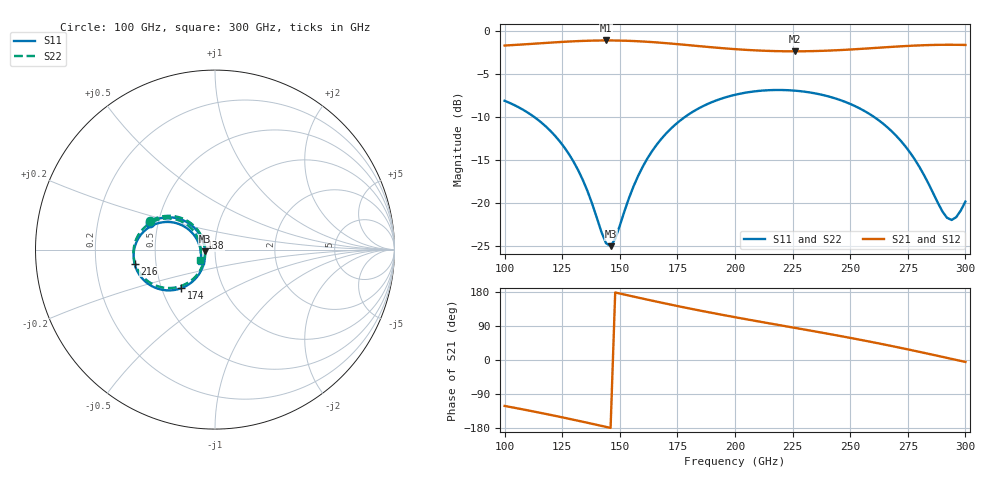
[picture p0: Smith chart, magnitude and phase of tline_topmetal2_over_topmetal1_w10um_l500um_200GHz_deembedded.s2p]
! Created with skrf 2.0.1 (http://scikit-rf.org).
# GHz S DB R 50.0
!freq dBS11 angS11 dBS21 angS21 dBS12 angS12 dBS22 angS22
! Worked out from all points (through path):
!   101 points, 100 GHz to 300 GHz, reference 50 ohm
!   highest |S21| = -1.06 dB at 144 GHz (marker M1); lowest = -2.3 dB at 226 GHz (marker M2)
!   group delay of S21, straight-line fit = 3.33 ps
!   lowest |S11| = -25.0 dB at 146 GHz (marker M3), VSWR 1.12, Z = 44.8 - j0.84 ohm
!   |S11| at or under -10 dB: 113 GHz to 178.1 GHz (65.15 GHz wide, 44.8 % of centre); 260.5 GHz to end of sweep
!   |S22| runs from -25.1 to -6.8 dB; largest |S21 - S12| = 7.9e-16
!   S11 on the Smith chart (normalised r, x): 100 GHz: 0.45, +0.16; 138 GHz: 0.85, +0.11; 174 GHz: 0.63, -0.30; 216 GHz: 0.38, -0.07; 300 GHz: 0.85, -0.11
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100  -8.08 157.6  -1.65 -121.2  -1.65 -121.2  -8.09 155.9
120  -11.62 139.3  -1.31 -145.0  -1.31 -145.0  -11.64 137.2
128  -14.33 134.2  -1.18 -155.2  -1.18 -155.2  -14.34 132.0
134  -17.34 134.2  -1.11 -163.1  -1.11 -163.1  -17.36 131.8
138  -20.08 139.2  -1.08 -168.4  -1.08 -168.4  -20.11 136.7
144  -24.67 170.3  -1.06 -176.5  -1.06 -176.5  -24.74 167.8
146  -25.02 -170.4  -1.06 -179.2  -1.06 -179.2  -25.10 -172.7
148  -24.16 -152.4  -1.06 178.1  -1.06 178.1  -24.23 -154.6
158  -16.81 -123.3  -1.15 164.6  -1.15 164.6  -16.83 -125.7
168  -12.53 -126.5  -1.33 151.4  -1.33 151.4  -12.55 -129.1
174  -10.88 -131.2  -1.46 143.7  -1.46 143.7  -10.89 -133.9
186  -8.72 -142.1  -1.76 129.1  -1.76 129.1  -8.74 -145.1
200  -7.39 -155.4  -2.07 113.0  -2.07 113.0  -7.40 -158.6
216  -6.84 -170.2  -2.29 95.5  -2.29 95.5  -6.85 -173.6
226  -6.91 -179.2  -2.32 84.8  -2.32 84.8  -6.92 177.1
234  -7.18 173.6  -2.30 76.2  -2.30 76.2  -7.20 169.8
252  -8.69 157.8  -2.08 56.1  -2.08 56.1  -8.71 153.7
268  -11.63 145.7  -1.81 36.9  -1.81 36.9  -11.65 141.3
278  -14.91 142.8  -1.66 24.1  -1.66 24.1  -14.94 138.2
292  -21.71 175.7  -1.56 5.6  -1.56 5.6  -21.80 170.9
296  -21.65 -159.7  -1.56 0.3  -1.56 0.3  -21.74 -164.4
300  -19.83 -141.4  -1.58 -5.1  -1.58 -5.1  -19.89 -146.0
